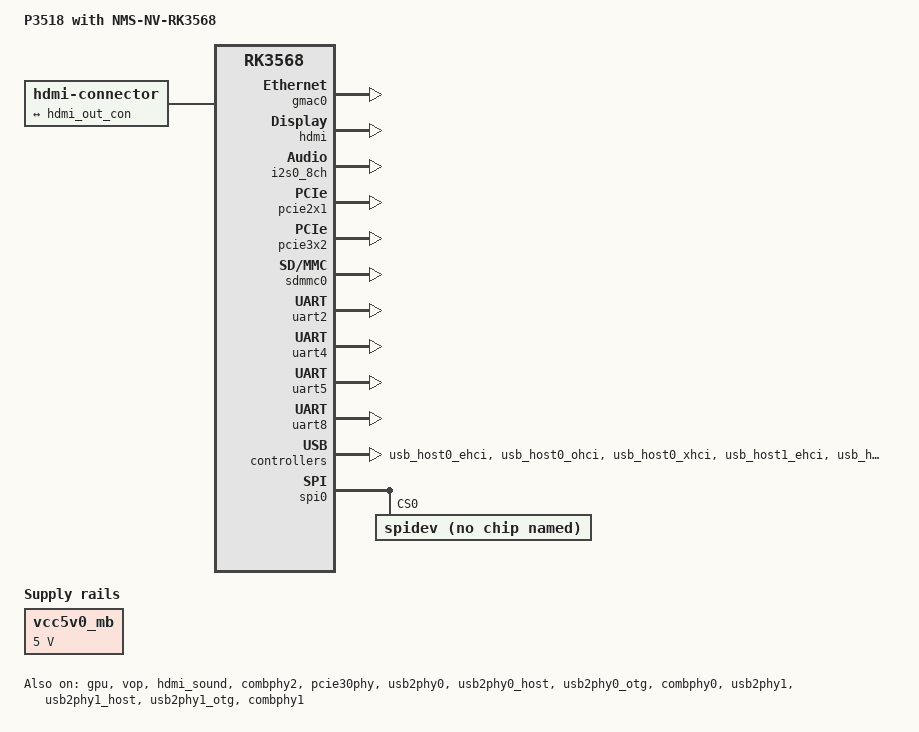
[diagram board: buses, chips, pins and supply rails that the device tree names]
// SPDX-License-Identifier: (GPL-2.0+ OR MIT)

/dts-v1/;
#include <dt-bindings/gpio/gpio.h>
#include <dt-bindings/leds/common.h>
#include <dt-bindings/pinctrl/rockchip.h>
#include <dt-bindings/soc/rockchip,vop2.h>
#include "rk3568-inmys-nv-som.dtsi"

/ {
	model = "P3518 with NMS-NV-RK3568";
	compatible = "inmys,rk3568-nv-som", "rockchip,rk3568";

	vcc5v0_mb: vcc5v0-mb {
		compatible = "regulator-fixed";
		regulator-name = "vcc5v0_mb";
		regulator-always-on;
		regulator-boot-on;
		regulator-min-microvolt = <5000000>;
		regulator-max-microvolt = <5000000>;
	};
#if 0
	vcc3v3_mb: vcc3v3-mb {
		compatible = "regulator-fixed";
		regulator-name = "vcc3v3_mb";
		regulator-always-on;
		regulator-boot-on;
		regulator-min-microvolt = <3300000>;
		regulator-max-microvolt = <3300000>;
		vin-supply = <&vcc5v0_mb>;
	};
#endif
};

#if 0
&sodimm_vdd_in{
	/* 5V to SOM */
	vin-supply = <&vcc5v0_mb>;
};
#endif

&gmac0 {
	status = "okay";
};



/* HDMI output */
/{
	hdmi-con {
		compatible = "hdmi-connector";
		type = "a";

		port {
			hdmi_con_in: endpoint {
				remote-endpoint = <&hdmi_out_con>;
			};
		};
	};
};

&gpu {
	status = "okay";
};

&hdmi {
	status = "okay";
};

&hdmi_in {
	hdmi_in_vp0: endpoint {
		remote-endpoint = <&vp0_out_hdmi>;
	};
};

&hdmi_out {
	hdmi_out_con: endpoint {
		remote-endpoint = <&hdmi_con_in>;
	};
};

&vop {
	status = "okay";
};

&vop_mmu {
	status = "okay";
};

&vp0 {
	vp0_out_hdmi: endpoint@ROCKCHIP_VOP2_EP_HDMI0 {
		reg = <ROCKCHIP_VOP2_EP_HDMI0>;
		remote-endpoint = <&hdmi_in_vp0>;
	};
};

&hdmi_sound {
	status = "okay";
};

&i2s0_8ch {
	status = "okay";
};

/* end HDMI */


/* mini PCIE connector */
&combphy2 {
	status = "okay";
};

&pcie2x1 {
	status = "okay";
};
/* end mini PCIE connector */

/* PCIE X4 connector */
&pcie30phy {
	status = "okay";
};

&pcie3x2 {
	status = "okay";
};
/* end PCIE X4 connector */


&sdmmc0 {
	status = "okay";
};

&uart2 {
	status = "okay";
};

&uart4 {
	status = "okay";
};

&uart5 {
	status = "okay";
};

&uart8 {
	status = "okay";
};


/* USB start */
&usb2phy0 {
	status = "okay";
};

&usb2phy0_host {
	/*phy-supply = <&vcc5v0_usb_host>;*/
	status = "okay";
};

&usb2phy0_otg {
	/*phy-supply = <&vcc5v0_usb_otg>;*/
	status = "okay";
};

&usb_host0_ehci {
	status = "okay";
};

&usb_host0_ohci {
	status = "okay";
};

&usb_host0_xhci {
	extcon = <&usb2phy0>;
	status = "okay";
};
&combphy0 { /* USB3_OTG SS */
	status = "okay";
};


&usb2phy1 {
	status = "okay";
};

&usb2phy1_host {
	/*phy-supply = <&vcc5v0_usb_host>;*/
	status = "okay";
};

&usb2phy1_otg {
	/*phy-supply = <&vcc5v0_usb_host>;*/
	status = "okay";
};

&usb_host1_ehci {
	status = "okay";
};

&usb_host1_ohci {
	status = "okay";
};

&usb_host1_xhci {
	status = "okay";
};
/* end USB*/

&combphy1 {
	status = "okay";
};

#if 0
&sata1 {
	status = "okay";
};
#endif



#if 0
/* SMARC: I2C_GP */
&i2c3{
	status = "okay";
};

/*SMARC: I2C_CAM0*/
&i2c4{
	status = "okay";
#if 0
	camera0: imx219@10 {
		compatible = "sony,imx219";
		reg = <0x10>;
		clocks = <&ext_cam_clk>;
		status = "okay";
		rockchip,camera-module-index = <0>;
		rockchip,camera-module-facing = "back";
		rockchip,camera-module-name = "NC";
		rockchip,camera-module-lens-name = "NC";
		port {
			ucam_out0: endpoint {
				remote-endpoint = <&mipi_in_ucam0>;
				data-lanes = <1 2>;
			};
		};
	};
#endif
};
#endif

&spi0 {
	status = "okay";
	spidev@0{
		compatible = "rohm,dh2228fv"; //linux,spidev
		reg = <0>;
	};
};

#if 0
&can1 {
	status = "okay";
};
#endif


